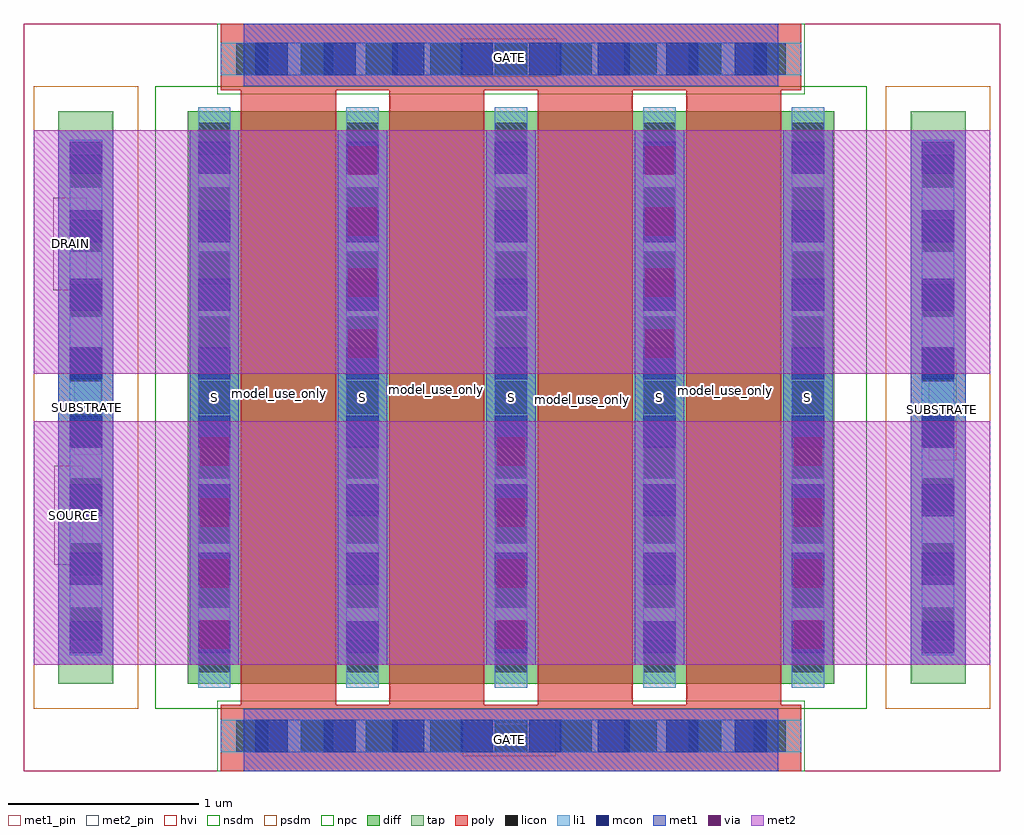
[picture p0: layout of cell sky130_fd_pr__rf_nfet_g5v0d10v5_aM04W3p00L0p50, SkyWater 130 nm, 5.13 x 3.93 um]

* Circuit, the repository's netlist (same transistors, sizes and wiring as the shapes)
* Copyright 2020 The SkyWater PDK Authors
*
* Licensed under the Apache License, Version 2.0 (the "License");
* you may not use this file except in compliance with the License.
* You may obtain a copy of the License at
*
*     https://www.apache.org/licenses/LICENSE-2.0
*
* Unless required by applicable law or agreed to in writing, software
* distributed under the License is distributed on an "AS IS" BASIS,
* WITHOUT WARRANTIES OR CONDITIONS OF ANY KIND, either express or implied.
* See the License for the specific language governing permissions and
* limitations under the License.
*
* SPDX-License-Identifier: Apache-2.0


.subckt sky130_fd_pr__rf_nfet_g5v0d10v5_aM04W3p00L0p50 DRAIN GATE SOURCE SUBSTRATE
X0 DRAIN GATE SOURCE SUBSTRATE sky130_fd_pr__nfet_g5v0d10v5 w=3.01e+06u l=500000u
X1 DRAIN GATE SOURCE SUBSTRATE sky130_fd_pr__nfet_g5v0d10v5 w=3.01e+06u l=500000u
X2 SOURCE GATE DRAIN SUBSTRATE sky130_fd_pr__nfet_g5v0d10v5 w=3.01e+06u l=500000u
X3 SOURCE GATE DRAIN SUBSTRATE sky130_fd_pr__nfet_g5v0d10v5 w=3.01e+06u l=500000u
.ends

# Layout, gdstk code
import gdstk
lib = gdstk.Library(unit=1e-6, precision=1e-09)
def R(c, l, rs):  # rectangles x0, y0, x1, y1
    for r in rs: c.add(gdstk.rectangle(r[:2], r[2:], *l))
def A(c, l, x, y, w, h, nx, ny, dx, dy):  # array of equal rectangles
    R(c, l, [(x+i*dx, y+j*dy, x+i*dx+w, y+j*dy+h) for i in range(nx) for j in range(ny)])
diff = (65, 20)
tap = (65, 44)
poly = (66, 20)
licon = (66, 44)
li1 = (67, 20)
mcon = (67, 44)
met1_pin = (68, 16)
met1 = (68, 20)
via = (68, 44)
met2_pin = (69, 16)
met2 = (69, 20)
hvi = (75, 20)
nsdm = (93, 44)
psdm = (94, 20)
npc = (95, 20)

sky130_fd_pr__rf_nfet_g5 = lib.new_cell('sky130_fd_pr__rf_nfet_g5v0d10v5_aM04W3p00L0p50')
R(sky130_fd_pr__rf_nfet_g5, diff, [(0.86,0.46,4.26,3.47)])
R(sky130_fd_pr__rf_nfet_g5, tap, [(0.18,0.46,0.47,3.47), (4.66,0.46,4.95,3.47)])
A(sky130_fd_pr__rf_nfet_g5, poly, 1.14, 0.35, 0.5, 3.23, 4, 1, 0.78, 0)
R(sky130_fd_pr__rf_nfet_g5, poly, [(1.035,0,4.085,0.35), (1.035,3.58,4.085,3.93)])
A(sky130_fd_pr__rf_nfet_g5, licon, 1.115, 0.1, 0.17, 0.17, 9, 2, 0.34, 3.56)
A(sky130_fd_pr__rf_nfet_g5, licon, 0.915, 0.52, 0.17, 0.17, 5, 9, 0.78, 0.34)
A(sky130_fd_pr__rf_nfet_g5, licon, 0.24, 0.69, 0.17, 0.17, 1, 8, 0, 0.34)
A(sky130_fd_pr__rf_nfet_g5, licon, 4.72, 0.69, 0.17, 0.17, 1, 8, 0, 0.34)
A(sky130_fd_pr__rf_nfet_g5, li1, 0.915, 0.44, 0.17, 3.05, 5, 1, 0.78, 0)
A(sky130_fd_pr__rf_nfet_g5, li1, 0.915, 0.62, 0.17, 2.69, 5, 1, 0.78, 0)
R(sky130_fd_pr__rf_nfet_g5, li1, [(1.035,0.1,4.085,0.27), (1.215,0.1,3.905,0.27), (0.24,0.61,0.41,3.32), (4.72,0.61,4.89,3.32), (0.24,0.62,0.41,3.31), (4.72,0.62,4.89,3.31), (1.035,3.66,4.085,3.83), (1.215,3.66,3.905,3.83)])
A(sky130_fd_pr__rf_nfet_g5, mcon, 1.215, 0.1, 0.17, 0.17, 8, 2, 0.36, 3.56)
A(sky130_fd_pr__rf_nfet_g5, mcon, 0.915, 0.62, 0.17, 0.17, 5, 8, 0.78, 0.36)
R(sky130_fd_pr__rf_nfet_g5, mcon, [(0.24,0.62,0.41,0.79), (0.24,0.62,0.41,0.79), (4.72,0.62,4.89,0.79), (4.72,0.62,4.89,0.79), (0.24,0.98,0.41,1.15), (0.24,0.98,0.41,1.15), (4.72,0.98,4.89,1.15), (4.72,0.98,4.89,1.15), (0.24,1.34,0.41,1.51), (0.24,1.34,0.41,1.51), (4.72,1.34,4.89,1.51), (4.72,1.34,4.89,1.51), (0.24,1.7,0.41,1.87), (0.24,1.7,0.41,1.87), (4.72,1.7,4.89,1.87), (4.72,1.7,4.89,1.87), (0.24,2.06,0.41,2.23), (0.24,2.06,0.41,2.23), (4.72,2.06,4.89,2.23), (4.72,2.06,4.89,2.23), (0.24,2.42,0.41,2.59), (0.24,2.42,0.41,2.59), (4.72,2.42,4.89,2.59), (4.72,2.42,4.89,2.59), (0.24,2.78,0.41,2.95), (0.24,2.78,0.41,2.95), (4.72,2.78,4.89,2.95), (4.72,2.78,4.89,2.95), (0.24,3.14,0.41,3.31), (0.24,3.14,0.41,3.31), (4.72,3.14,4.89,3.31), (4.72,3.14,4.89,3.31)])
R(sky130_fd_pr__rf_nfet_g5, met1_pin, [(2.305,0.08,2.795,0.25), (4.755,1.635,4.9,2.165), (0.265,1.665,0.405,2.15), (2.295,3.65,2.8,3.85)])
A(sky130_fd_pr__rf_nfet_g5, met1, 0.87, 0.56, 0.26, 2.81, 5, 1, 0.78, 0)
A(sky130_fd_pr__rf_nfet_g5, met1, 0.87, 0.56, 0.26, 1.28, 3, 1, 1.56, 0)
R(sky130_fd_pr__rf_nfet_g5, met1, [(1.155,0,3.965,0.33), (0.18,0.56,0.47,3.37), (0.18,0.56,0.47,3.37), (4.66,0.56,4.95,3.37), (4.66,0.56,4.95,3.37), (1.65,2.09,1.91,3.37), (3.21,2.09,3.47,3.37), (1.155,3.6,3.965,3.93)])
A(sky130_fd_pr__rf_nfet_g5, via, 0.925, 0.645, 0.15, 0.15, 3, 4, 1.56, 0.32)
A(sky130_fd_pr__rf_nfet_g5, via, 1.705, 2.175, 0.15, 0.15, 1, 4, 0, 0.32)
A(sky130_fd_pr__rf_nfet_g5, via, 3.265, 2.175, 0.15, 0.15, 1, 4, 0, 0.32)
R(sky130_fd_pr__rf_nfet_g5, met2_pin, [(0.16,1.085,0.31,1.605), (0.155,2.53,0.33,3.015)])
A(sky130_fd_pr__rf_nfet_g5, met2, 0.87, 0.56, 0.26, 1.28, 3, 1, 1.56, 0)
R(sky130_fd_pr__rf_nfet_g5, met2, [(0.05,0.56,5.08,1.84), (0.05,2.09,5.08,3.37), (1.65,2.09,1.91,3.37), (3.21,2.09,3.47,3.37)])
R(sky130_fd_pr__rf_nfet_g5, hvi, [(0,0,5.13,3.93)])
R(sky130_fd_pr__rf_nfet_g5, nsdm, [(0.69,0.33,4.43,3.6)])
R(sky130_fd_pr__rf_nfet_g5, psdm, [(0.05,0.33,0.6,3.6), (4.53,0.33,5.08,3.6)])
R(sky130_fd_pr__rf_nfet_g5, npc, [(1.015,0,4.105,0.37), (1.015,3.56,4.105,3.93)])
sky130_fd_pr__rf_nfet_g5.add(gdstk.Label('model_use_only', (3.685,2), layer=66, texttype=83))
sky130_fd_pr__rf_nfet_g5.add(gdstk.Label('model_use_only', (2.935,1.955), layer=66, texttype=83))
sky130_fd_pr__rf_nfet_g5.add(gdstk.Label('model_use_only', (2.17,2.005), layer=66, texttype=83))
sky130_fd_pr__rf_nfet_g5.add(gdstk.Label('model_use_only', (1.345,1.985), layer=66, texttype=83))
sky130_fd_pr__rf_nfet_g5.add(gdstk.Label('S', (1,1.965), layer=83, texttype=44))
sky130_fd_pr__rf_nfet_g5.add(gdstk.Label('S', (1.78,1.965), layer=83, texttype=44))
sky130_fd_pr__rf_nfet_g5.add(gdstk.Label('S', (2.56,1.965), layer=83, texttype=44))
sky130_fd_pr__rf_nfet_g5.add(gdstk.Label('S', (3.34,1.965), layer=83, texttype=44))
sky130_fd_pr__rf_nfet_g5.add(gdstk.Label('S', (1,1.965), layer=83, texttype=44))
sky130_fd_pr__rf_nfet_g5.add(gdstk.Label('D', (1.78,1.965), layer=83, texttype=44))
sky130_fd_pr__rf_nfet_g5.add(gdstk.Label('S', (2.56,1.965), layer=83, texttype=44))
sky130_fd_pr__rf_nfet_g5.add(gdstk.Label('D', (3.34,1.965), layer=83, texttype=44))
sky130_fd_pr__rf_nfet_g5.add(gdstk.Label('S', (4.12,1.965), layer=83, texttype=44))
sky130_fd_pr__rf_nfet_g5.add(gdstk.Label('SOURCE', (0.26,1.345), layer=69, texttype=5))
sky130_fd_pr__rf_nfet_g5.add(gdstk.Label('DRAIN', (0.245,2.775), layer=69, texttype=5))
sky130_fd_pr__rf_nfet_g5.add(gdstk.Label('GATE', (2.55,3.75), layer=68, texttype=5))
sky130_fd_pr__rf_nfet_g5.add(gdstk.Label('GATE', (2.55,0.165), layer=68, texttype=5))
sky130_fd_pr__rf_nfet_g5.add(gdstk.Label('SUBSTRATE', (4.83,1.9), layer=68, texttype=5))
sky130_fd_pr__rf_nfet_g5.add(gdstk.Label('SUBSTRATE', (0.335,1.91), layer=68, texttype=5))

lib.write_gds('sky130_fd_pr__rf_nfet_g5v0d10v5_aM04W3p00L0p50.gds')
